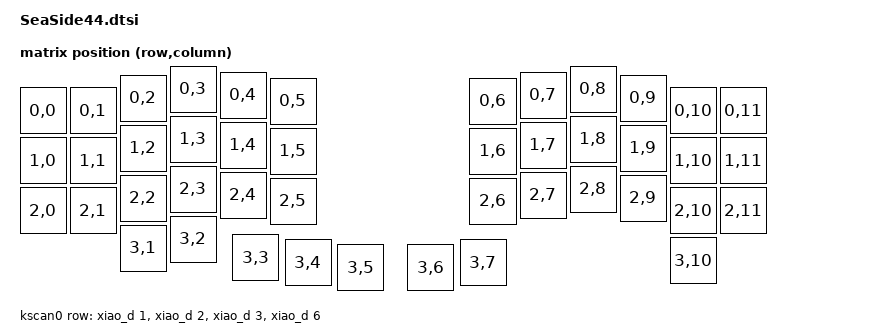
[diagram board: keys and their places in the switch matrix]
#include <dt-bindings/zmk/matrix_transform.h>
#include <physical_layouts.dtsi>

/ {
    chosen {
        zmk,physical-layout = &SeaSide44_physical_layout;
    };
    
    SeaSide44_physical_layout: SeaSide44_physical_layout {
        compatible = "zmk,physical-layout";
        display-name = "Default";
        transform = <&default_transform>;
        kscan = <&kscan0>;

        keys 
            = 
            <&key_physical_attrs 100 100    0   43       0     0     0>
            , <&key_physical_attrs 100 100  100   43       0     0     0>
            , <&key_physical_attrs 100 100  200   18       0     0     0>
            , <&key_physical_attrs 100 100  300    0       0     0     0>
            , <&key_physical_attrs 100 100  400   12       0     0     0>
            , <&key_physical_attrs 100 100  500   24       0     0     0>

            , <&key_physical_attrs 100 100  900   24       0     0     0>
            , <&key_physical_attrs 100 100 1000   12       0     0     0>
            , <&key_physical_attrs 100 100 1100    0       0     0     0>
            , <&key_physical_attrs 100 100 1200   18       0     0     0>
            , <&key_physical_attrs 100 100 1300   43       0     0     0>
            , <&key_physical_attrs 100 100 1400   43       0     0     0>

            , <&key_physical_attrs 100 100    0  143       0     0     0>
            , <&key_physical_attrs 100 100  100  143       0     0     0>
            , <&key_physical_attrs 100 100  200  118       0     0     0>
            , <&key_physical_attrs 100 100  300  100       0     0     0>
            , <&key_physical_attrs 100 100  400  112       0     0     0>
            , <&key_physical_attrs 100 100  500  124       0     0     0>

            , <&key_physical_attrs 100 100  900  124       0     0     0>
            , <&key_physical_attrs 100 100 1000  112       0     0     0>
            , <&key_physical_attrs 100 100 1100  100       0     0     0>
            , <&key_physical_attrs 100 100 1200  118       0     0     0>
            , <&key_physical_attrs 100 100 1300  143       0     0     0>
            , <&key_physical_attrs 100 100 1400  143       0     0     0>

            , <&key_physical_attrs 100 100    0  243       0     0     0>
            , <&key_physical_attrs 100 100  100  243       0     0     0>
            , <&key_physical_attrs 100 100  200  218       0     0     0>
            , <&key_physical_attrs 100 100  300  200       0     0     0>
            , <&key_physical_attrs 100 100  400  212       0     0     0>
            , <&key_physical_attrs 100 100  500  224       0     0     0>

            , <&key_physical_attrs 100 100  900  224       0     0     0>
            , <&key_physical_attrs 100 100 1000  212       0     0     0>
            , <&key_physical_attrs 100 100 1100  200       0     0     0>
            , <&key_physical_attrs 100 100 1200  218       0     0     0>
            , <&key_physical_attrs 100 100 1300  243       0     0     0>
            , <&key_physical_attrs 100 100 1400  243       0     0     0>

            , <&key_physical_attrs 100 100  200  318       0     0     0>
            , <&key_physical_attrs 100 100  300  300       0     0     0>
            , <&key_physical_attrs 100 100  425  337       0     0     0>
            , <&key_physical_attrs 100 100  530  347       0     0     0>
            , <&key_physical_attrs 100 100  635  357       0     0     0>

            , <&key_physical_attrs 100 100  775  357       0     0     0>
            , <&key_physical_attrs 100 100  880  347       0     0     0>
            , <&key_physical_attrs 100 100 1300  343       0     0     0>;
            
        };

    default_transform: keymap_transform_0 {
        compatible = "zmk,matrix-transform";
        columns = <12>;
        rows = <4>;
        map = <
            RC(0,0) RC(0,1) RC(0,2) RC(0,3) RC(0,4) RC(0,5)                     RC(0,6) RC(0,7) RC(0,8) RC(0,9) RC(0,10) RC(0,11)
            RC(1,0) RC(1,1) RC(1,2) RC(1,3) RC(1,4) RC(1,5)                     RC(1,6) RC(1,7) RC(1,8) RC(1,9) RC(1,10) RC(1,11)
            RC(2,0) RC(2,1) RC(2,2) RC(2,3) RC(2,4) RC(2,5)                     RC(2,6) RC(2,7) RC(2,8) RC(2,9) RC(2,10) RC(2,11)
                            RC(3,1) RC(3,2) RC(3,3) RC(3,4) RC(3,5)    RC(3,6)  RC(3,7)                         RC(3,10)         
        >;
    };
    
    kscan0: kscan {
        compatible = "zmk,kscan-gpio-matrix";
        label = "KSCAN";
        diode-direction = "col2row";
        row-gpios
            = <&xiao_d 1 (GPIO_ACTIVE_HIGH | GPIO_PULL_DOWN)> 
            , <&xiao_d 2 (GPIO_ACTIVE_HIGH | GPIO_PULL_DOWN)> 
            , <&xiao_d 3 (GPIO_ACTIVE_HIGH | GPIO_PULL_DOWN)> 
            , <&xiao_d 6 (GPIO_ACTIVE_HIGH | GPIO_PULL_DOWN)> 
            ;
    };
};
